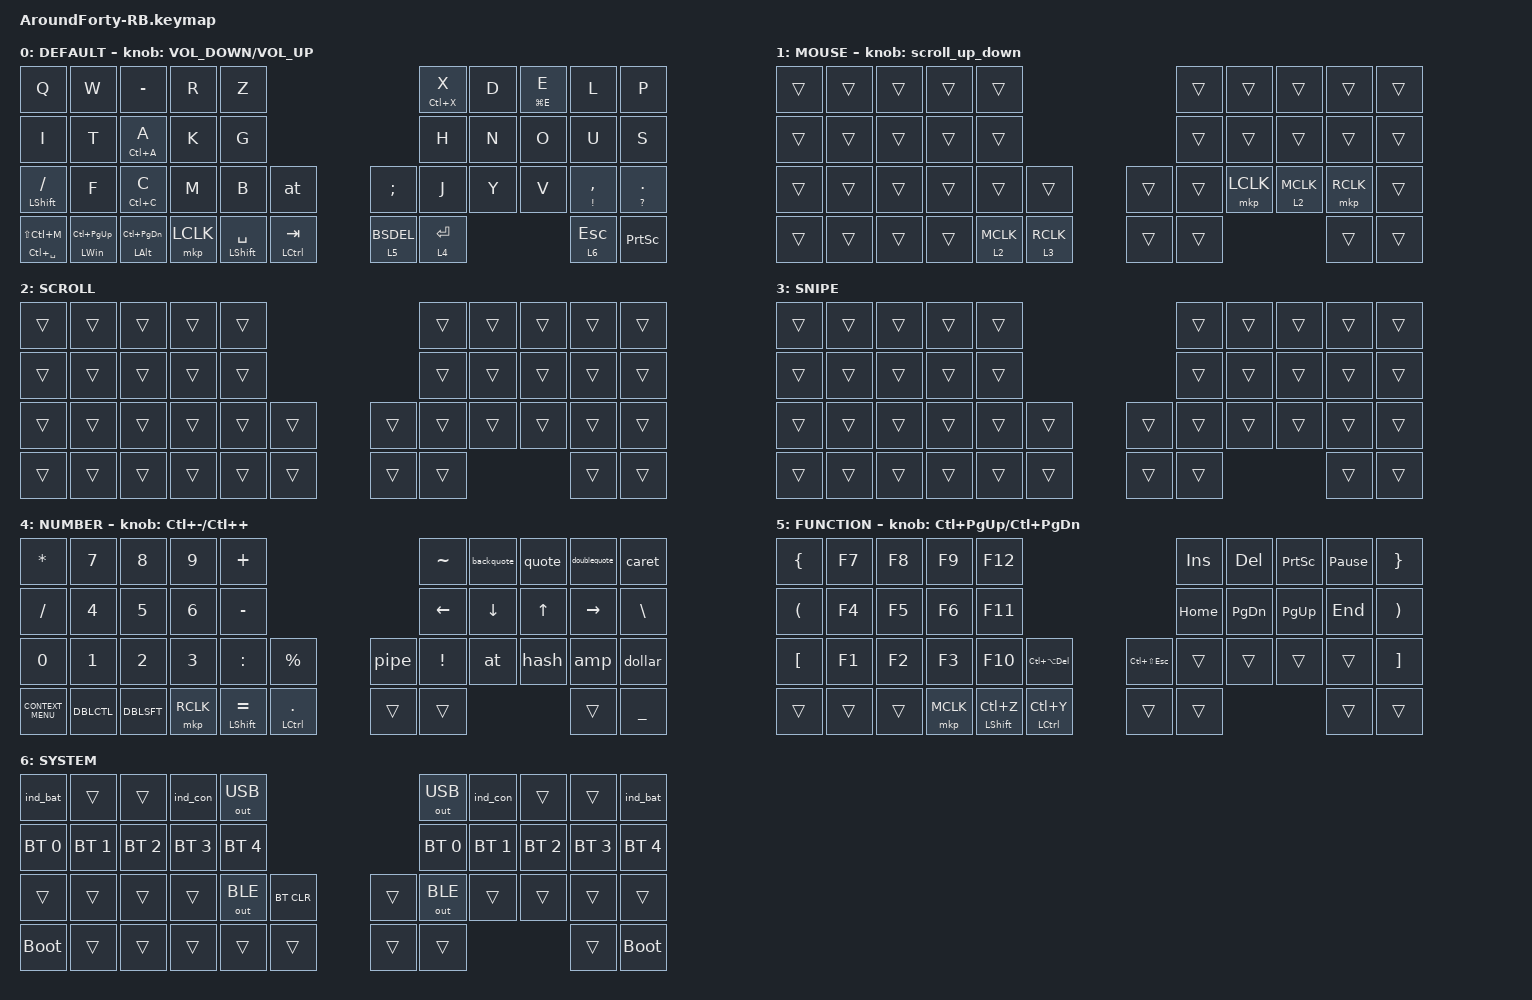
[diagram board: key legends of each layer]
#include <behaviors/rgbled_widget.dtsi>
#include <behaviors.dtsi>
#include <dt-bindings/zmk/bt.h>
#include <dt-bindings/zmk/keys.h>
#include <dt-bindings/zmk/outputs.h>
#include <dt-bindings/zmk/pointing.h>

#define ZMK_POINTING_DEFAULT_SCRL_VAL 100

&mt {
    quick-tap-ms = <175>;
    flavor = "tap-preferred";
};

/ {
    combos {
        compatible = "zmk,combos";

        IME_ON {
            bindings = <&imeonoff LA(GRAVE) LANGUAGE_1>;
            key-positions = <17 18>;
            layers = <0 1>;
        };

        win_mv_right {
            bindings = <&winmvright>;
            key-positions = <8 9>;
            slow-release;
            layers = <0 1>;
        };

        win_mv_left {
            bindings = <&winmvleft>;
            key-positions = <0 1>;
            slow-release;
            layers = <0 1>;
        };

        brackets {
            bindings = <&brack 0 0>;
            key-positions = <20 31>;
            layers = <0 1 4>;
        };

        parenthesis {
            bindings = <&paren 0 0>;
            key-positions = <10 19>;
            layers = <0 1 4>;
        };

        find {
            bindings = <&kp LC(F)>;
            key-positions = <20 21>;
            layers = <0 1>;
        };

        paste {
            bindings = <&holdtap LG(V) LC(V)>;
            key-positions = <16 17>;
            layers = <0 1>;
        };

        dblsft {
            bindings = <&DBLSFT>;
            key-positions = <12 13>;
            layers = <0 1>;
        };

        IME_OFF {
            bindings = <&kp LANGUAGE_2>;
            key-positions = <11 12>;
            layers = <0 1>;
        };

        braces {
            bindings = <&brace 0 0>;
            key-positions = <0 9>;
            layers = <0 1 4>;
        };

        undo {
            bindings = <&kp LC(Z)>;
            key-positions = <21 22>;
            layers = <0 1>;
        };

        redo {
            bindings = <&kp LC(Y)>;
            key-positions = <29 30>;
            layers = <0 1>;
        };

        home {
            bindings = <&kp HOME>;
            key-positions = <10 11>;
            layers = <0 1>;
        };

        end {
            bindings = <&kp END>;
            key-positions = <18 19>;
            layers = <0 1>;
        };

        close {
            bindings = <&holdtap LA(F4) LC(W)>;
            key-positions = <30 31>;
            layers = <0 1>;
        };
    };

    macros {
        DBLSFT: DBLSFT {
            compatible = "zmk,behavior-macro";
            #binding-cells = <0>;
            bindings = <&kp LEFT_SHIFT &kp LEFT_SHIFT>;
        };

        DBLCTL: DBLCTL {
            compatible = "zmk,behavior-macro";
            #binding-cells = <0>;
            bindings = <&kp LCTRL &kp LCTRL>;
        };

        winmvright: winmvright {
            compatible = "zmk,behavior-macro";
            #binding-cells = <0>;
            bindings =
                <&macro_press>,
                <&kp LEFT_GUI &kp RIGHT>,
                <&macro_release>,
                <&kp RIGHT &kp LEFT_WIN>;
        };

        winmvleft: winmvleft {
            compatible = "zmk,behavior-macro";
            #binding-cells = <0>;
            bindings =
                <&macro_press>,
                <&kp LEFT_GUI &kp LEFT>,
                <&macro_release>,
                <&kp LEFT &kp LEFT_WIN>;
        };

        at: at {
            compatible = "zmk,behavior-macro";
            #binding-cells = <0>;
            bindings = <&kp LANGUAGE_2 &kp AT_SIGN>;
        };

        hash: hash {
            compatible = "zmk,behavior-macro";
            #binding-cells = <0>;
            bindings = <&kp LANGUAGE_2 &kp HASH>;
        };

        amp: amp {
            compatible = "zmk,behavior-macro";
            #binding-cells = <0>;
            bindings = <&kp LANGUAGE_2 &kp AMPERSAND>;
        };

        dollar: doller {
            compatible = "zmk,behavior-macro";
            #binding-cells = <0>;
            bindings = <&kp LANGUAGE_2 &kp DOLLAR>;
        };

        backquote: backquote {
            compatible = "zmk,behavior-macro";
            #binding-cells = <0>;
            bindings = <&kp LANGUAGE_2 &kp GRAVE>;
        };

        quote: quote {
            compatible = "zmk,behavior-macro";
            #binding-cells = <0>;
            bindings = <&kp LANGUAGE_2 &kp SINGLE_QUOTE>;
        };

        doublequote: doublequote {
            compatible = "zmk,behavior-macro";
            #binding-cells = <0>;
            bindings = <&kp LANGUAGE_2 &kp DOUBLE_QUOTES>;
        };

        caret: caret {
            compatible = "zmk,behavior-macro";
            #binding-cells = <0>;
            bindings = <&kp LANGUAGE_2 &kp CARET>;
        };

        pipe: pipe {
            compatible = "zmk,behavior-macro";
            #binding-cells = <0>;
            bindings = <&kp LANGUAGE_2 &kp PIPE>;
        };

        parenthesis: parenthesis {
            compatible = "zmk,behavior-macro";
            #binding-cells = <0>;
            bindings = <&kp LANGUAGE_2 &kp LEFT_PARENTHESIS &kp RIGHT_PARENTHESIS &kp LEFT_ARROW>;
        };

        brackets: brackets {
            compatible = "zmk,behavior-macro";
            #binding-cells = <0>;
            bindings = <&kp LANGUAGE_2 &kp LEFT_BRACKET &kp RIGHT_BRACKET &kp LEFT>;
        };

        braces: braces {
            compatible = "zmk,behavior-macro";
            #binding-cells = <0>;
            bindings = <&kp LANGUAGE_2 &kp LEFT_BRACE &kp RIGHT_BRACE &kp LEFT>;
        };

        zen_parenthesis: zen_parenthesis {
            compatible = "zmk,behavior-macro";
            #binding-cells = <0>;
            bindings = <&kp LANGUAGE_1 &kp LEFT_PARENTHESIS &kp RIGHT_PARENTHESIS &kp LEFT_ARROW>;
        };

        zen_brackets: zen_brackets {
            compatible = "zmk,behavior-macro";
            #binding-cells = <0>;
            bindings = <&kp LANGUAGE_1 &kp LEFT_BRACKET &kp RIGHT_BRACKET &kp LEFT>;
        };

        zen_braces: zen_braces {
            compatible = "zmk,behavior-macro";
            #binding-cells = <0>;
            bindings = <&kp LANGUAGE_1 &kp LEFT_BRACE &kp RIGHT_BRACE &kp LEFT>;
        };

        right_arrow: right_arrow {
            compatible = "zmk,behavior-macro";
            #binding-cells = <0>;
            bindings =
                <&kp LANGUAGE_2 &kp KP_NUMLOCK>,
                <&macro_press>,
                <&kp LEFT_ALT>,
                <&macro_tap>,
                <&kp KP_PLUS &kp KP_NUMBER_2 &kp KP_NUMBER_1 &kp KP_NUMBER_9 &kp KP_NUMBER_2>,
                <&macro_release>,
                <&kp LEFT_ALT>,
                <&macro_tap>,
                <&kp KP_NUMLOCK>;
        };

        left_arrow: left_arrow {
            compatible = "zmk,behavior-macro";
            #binding-cells = <0>;
            bindings =
                <&kp LANGUAGE_2 &kp KP_NUMLOCK>,
                <&macro_release>,
                <&kp LEFT_SHIFT>,
                <&macro_press>,
                <&kp LEFT_ALT>,
                <&macro_tap>,
                <&kp KP_PLUS &kp KP_NUMBER_2 &kp KP_NUMBER_1 &kp KP_NUMBER_9 &kp KP_NUMBER_0>,
                <&macro_release>,
                <&kp LEFT_ALT>,
                <&macro_tap>,
                <&kp KP_NUMLOCK>;
        };

        up_arrow: up_arrow {
            compatible = "zmk,behavior-macro";
            #binding-cells = <0>;
            bindings =
                <&kp LANGUAGE_2 &kp KP_NUMLOCK>,
                <&macro_press>,
                <&kp LEFT_ALT>,
                <&macro_tap>,
                <&kp KP_PLUS &kp KP_NUMBER_2 &kp KP_NUMBER_1 &kp KP_NUMBER_9 &kp KP_NUMBER_1>,
                <&macro_release>,
                <&kp LEFT_ALT>,
                <&macro_tap>,
                <&kp KP_NUM>;
        };

        down_arrow: down_arrow {
            compatible = "zmk,behavior-macro";
            #binding-cells = <0>;
            bindings =
                <&kp LANGUAGE_2 &kp KP_NUMLOCK>,
                <&macro_press>,
                <&kp LEFT_ALT>,
                <&macro_tap>,
                <&kp KP_PLUS &kp KP_NUMBER_2 &kp KP_NUMBER_1 &kp KP_NUMBER_9 &kp KP_NUMBER_3>,
                <&macro_release>,
                <&kp LEFT_ALT>,
                <&macro_tap>,
                <&kp KP_NUMLOCK>;
        };
    };

    behaviors {
        BSDEL: BSDEL {
            compatible = "zmk,behavior-mod-morph";
            bindings = <&kp BSPC>, <&kp DELETE>;

            #binding-cells = <0>;
            mods = <(MOD_LSFT|MOD_RSFT)>;
        };

        lt_bsdel: lt_bsdel {
            compatible = "zmk,behavior-hold-tap";
            bindings = <&mo>, <&BSDEL>;

            #binding-cells = <2>;
            tapping-term-ms = <200>;
            quick-tap-ms = <300>;
            flavor = "tap-preferred";
        };

        imeonoff: imeonoff {
            compatible = "zmk,behavior-hold-tap";
            bindings = <&kp>, <&kp>;

            #binding-cells = <2>;
            tapping-term-ms = <200>;
            flavor = "tap-preferred";
        };

        holdtap: holdtap {
            compatible = "zmk,behavior-hold-tap";
            bindings = <&kp>, <&kp>;

            #binding-cells = <2>;
            tapping-term-ms = <300>;
            flavor = "tap-preferred";
            quick-tap-ms = <250>;
            require-prior-idle-ms = <150>;
        };

        scroll_up_down: behavior_sensor_rotate_mouse_wheel_up_down {
            compatible = "zmk,behavior-sensor-rotate";
            #sensor-binding-cells = <0>;
            bindings = <&msc SCRL_UP>, <&msc SCRL_DOWN>;

            tap-ms = <20>;
        };

        paren: paren {
            compatible = "zmk,behavior-hold-tap";
            bindings = <&zen_parenthesis>, <&parenthesis>;

            #binding-cells = <2>;
            tapping-term-ms = <200>;
            flavor = "tap-preferred";
        };

        brack: brack {
            compatible = "zmk,behavior-hold-tap";
            bindings = <&zen_brackets>, <&brackets>;

            #binding-cells = <2>;
            tapping-term-ms = <200>;
            flavor = "tap-preferred";
        };

        brace: brace {
            compatible = "zmk,behavior-hold-tap";
            bindings = <&zen_braces>, <&braces>;

            #binding-cells = <2>;
            tapping-term-ms = <200>;
            flavor = "tap-preferred";
        };

        arrows: arrows {
            compatible = "zmk,behavior-hold-tap";
            bindings = <&down_up_arrow>, <&right_left_arrow>;

            #binding-cells = <2>;
            flavor = "tap-preferred";
            tapping-term-ms = <200>;
        };

        right_left_arrow: right_left_arrow {
            compatible = "zmk,behavior-mod-morph";
            bindings = <&right_arrow>, <&left_arrow>;

            #binding-cells = <0>;
            mods = <(MOD_LSFT|MOD_RSFT)>;
        };

        down_up_arrow: down_up_arrow {
            compatible = "zmk,behavior-mod-morph";
            bindings = <&down_arrow>, <&up_arrow>;

            #binding-cells = <0>;
            mods = <(MOD_LSFT|MOD_RSFT)>;
        };

        mkp_layer: mkp_layer {
            compatible = "zmk,behavior-hold-tap";
            bindings = <&mo>, <&mkp>;

            #binding-cells = <2>;
            tapping-term-ms = <200>;
        };
    };

    keymap {
        compatible = "zmk,keymap";

        DEFAULT {
            bindings = <
&kp Q                         &kp W                     &kp MINUS                   &kp R      &kp Z                            &holdtap LC(X) X  &kp D        &holdtap LG(E) E  &kp L            &kp P
&kp I                         &kp T                     &holdtap LC(A) A            &kp K      &kp G                            &kp H             &kp N        &kp O             &kp U            &kp S
&mt LEFT_SHIFT SLASH          &kp F                     &holdtap LC(C) C            &kp M      &kp B             &at            &kp SEMICOLON     &kp J        &kp Y             &kp V            &holdtap EXCLAMATION COMMA  &holdtap QUESTION PERIOD
&holdtap LC(SPACE) LS(LC(M))  &mt LEFT_WIN LC(PAGE_UP)  &mt LEFT_ALT LC(PAGE_DOWN)  &mkp LCLK  &mt LSHIFT SPACE  &mt LCTRL TAB  &lt_bsdel 5 0     &lt 4 ENTER  &lt 6 ESC         &kp PRINTSCREEN
            >;

            sensor-bindings = <&inc_dec_kp C_VOLUME_DOWN C_VOLUME_UP>;
        };

        MOUSE {
            bindings = <
&trans  &trans  &trans  &trans  &trans                                &trans  &trans  &trans     &trans             &trans
&trans  &trans  &trans  &trans  &trans                                &trans  &trans  &trans     &trans             &trans
&trans  &trans  &trans  &trans  &trans             &trans             &trans  &trans  &mkp LCLK  &mkp_layer 2 MCLK  &mkp RCLK  &trans
&trans  &trans  &trans  &trans  &mkp_layer 2 MCLK  &mkp_layer 3 RCLK  &trans  &trans  &trans     &trans
            >;

            sensor-bindings = <&scroll_up_down>;
        };

        SCROLL {
            bindings = <
&trans  &trans  &trans  &trans  &trans          &trans  &trans  &trans  &trans  &trans
&trans  &trans  &trans  &trans  &trans          &trans  &trans  &trans  &trans  &trans
&trans  &trans  &trans  &trans  &trans  &trans  &trans  &trans  &trans  &trans  &trans  &trans
&trans  &trans  &trans  &trans  &trans  &trans  &trans  &trans  &trans  &trans
            >;
        };

        SNIPE {
            bindings = <
&trans  &trans  &trans  &trans  &trans          &trans  &trans  &trans  &trans  &trans
&trans  &trans  &trans  &trans  &trans          &trans  &trans  &trans  &trans  &trans
&trans  &trans  &trans  &trans  &trans  &trans  &trans  &trans  &trans  &trans  &trans  &trans
&trans  &trans  &trans  &trans  &trans  &trans  &trans  &trans  &trans  &trans
            >;
        };

        NUMBER {
            bindings = <
&kp ASTERISK        &kp NUMBER_7  &kp NUMBER_8  &kp NUMBER_9  &kp PLUS                                &kp TILDE  &backquote       &quote        &doublequote  &caret
&kp SLASH           &kp NUMBER_4  &kp NUMBER_5  &kp NUMBER_6  &kp MINUS                               &kp LEFT   &kp DOWN         &kp UP_ARROW  &kp RIGHT     &kp BACKSLASH
&kp NUMBER_0        &kp NUMBER_1  &kp NUMBER_2  &kp NUMBER_3  &kp COLON             &kp PERCENT       &pipe      &kp EXCLAMATION  &at           &hash         &amp           &dollar
&kp K_CONTEXT_MENU  &DBLCTL       &DBLSFT       &mkp RCLK     &mt LEFT_SHIFT EQUAL  &mt LCTRL PERIOD  &trans     &trans           &trans        &kp UNDER
            >;

            sensor-bindings = <&inc_dec_kp LC(MINUS) LC(PLUS)>;
        };

        FUNCTION {
            bindings = <
&kp LEFT_BRACE        &kp F7  &kp F8  &kp F9     &kp F12                               &kp INSERT          &kp DELETE     &kp PRINTSCREEN  &kp PAUSE_BREAK  &kp RIGHT_BRACE
&kp LEFT_PARENTHESIS  &kp F4  &kp F5  &kp F6     &kp F11                               &kp HOME            &kp PAGE_DOWN  &kp PAGE_UP      &kp END          &kp RIGHT_PARENTHESIS
&kp LEFT_BRACKET      &kp F1  &kp F2  &kp F3     &kp F10           &kp LC(LA(DELETE))  &kp LC(LS(ESCAPE))  &trans         &trans           &trans           &trans                 &kp RIGHT_BRACKET
&trans                &trans  &trans  &mkp MCLK  &mt LSHIFT LC(Z)  &mt LCTRL LC(Y)     &trans              &trans         &trans           &trans
            >;

            sensor-bindings = <&inc_dec_kp LC(PAGE_UP) LC(PAGE_DOWN)>;
        };

        SYSTEM {
            bindings = <
&ind_bat      &trans        &trans        &ind_con      &out OUT_USB              &out OUT_USB  &ind_con      &trans        &trans        &ind_bat
&bt BT_SEL 0  &bt BT_SEL 1  &bt BT_SEL 2  &bt BT_SEL 3  &bt BT_SEL 4              &bt BT_SEL 0  &bt BT_SEL 1  &bt BT_SEL 2  &bt BT_SEL 3  &bt BT_SEL 4
&trans        &trans        &trans        &trans        &out OUT_BLE  &bt BT_CLR  &trans        &out OUT_BLE  &trans        &trans        &trans        &trans
&bootloader   &trans        &trans        &trans        &trans        &trans      &trans        &trans        &trans        &bootloader
            >;
        };
    };
};
